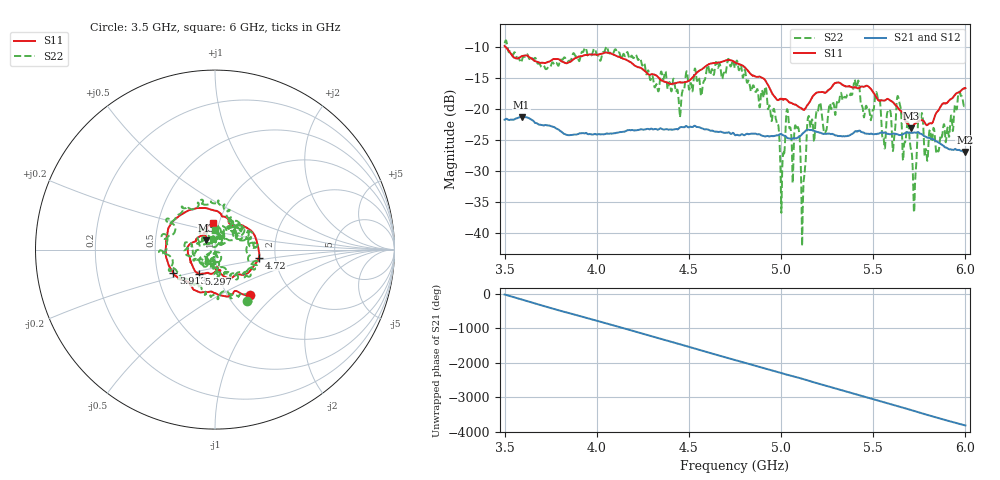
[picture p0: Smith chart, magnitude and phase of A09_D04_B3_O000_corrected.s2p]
! Created with skrf 1.9.0 (http://scikit-rf.org).
# Hz S RI R 50.0
!freq ReS11 ImS11 ReS21 ImS21 ReS12 ImS12 ReS22 ImS22
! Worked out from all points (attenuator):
!   1601 points, 3.5 GHz to 6 GHz, reference 50 ohm
!   highest |S21| = -21.26 dB at 3.592 GHz (marker M1); lowest = -26.9 dB at 5.997 GHz (marker M2)
!   lowest |S11| = -23.1 dB at 5.706 GHz (marker M3), VSWR 1.15, Z = 45.2 + j4.68 ohm
!   |S11| at or under -10 dB: 3.506 GHz to end of sweep
!   |S22| runs from -42.1 to -8.9 dB; largest |S21 - S12| = 0.0012
!   S11 on the Smith chart (normalised r, x): 3.5 GHz: 1.26, -0.72; 3.913 GHz: 0.60, -0.17; 4.72 GHz: 1.64, -0.16; 5.297 GHz: 0.80, -0.22; 6 GHz: 0.94, +0.28
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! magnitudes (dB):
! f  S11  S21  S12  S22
! 3.5 GHz  -9.8  -21.7  -21.7  -9.4
! 3.592 GHz  -11.5  -21.3  -21.3  -12.3
! 3.913 GHz  -11.5  -23.9  -23.8  -11.4
! 3.917 GHz  -11.5  -23.9  -23.9  -10.9
! 4.334 GHz  -14.9  -23.3  -23.2  -17.2
! 4.72 GHz  -12.1  -23.8  -23.8  -12.6
! 4.75 GHz  -12.5  -24.2  -24.1  -13.4
! 4.912 GHz  -15.3  -24.4  -24.3  -16.6
! 5.006 GHz  -18.4  -24.1  -24.0  -29.6
! 5.034 GHz  -18.6  -24.7  -24.6  -20.1
! 5.088 GHz  -19.5  -24.6  -24.6  -23.1
! 5.119 GHz  -20.0  -23.9  -23.8  -34.6
! 5.167 GHz  -18.2  -23.4  -23.3  -21.7
! 5.297 GHz  -15.8  -24.2  -24.2  -20.4
! 5.584 GHz  -18.5  -24.0  -24.0  -20.5
! 5.639 GHz  -20.0  -24.2  -24.1  -18.5
! 5.706 GHz  -23.1  -23.8  -23.8  -26.8
! 5.725 GHz  -22.4  -23.8  -23.7  -33.9
! 5.756 GHz  -21.8  -24.0  -23.9  -21.5
! 5.787 GHz  -22.5  -24.5  -24.4  -26.6
! 5.997 GHz  -16.7  -26.9  -26.8  -19.5
! 6 GHz  -16.6  -26.9  -26.8  -19.4
